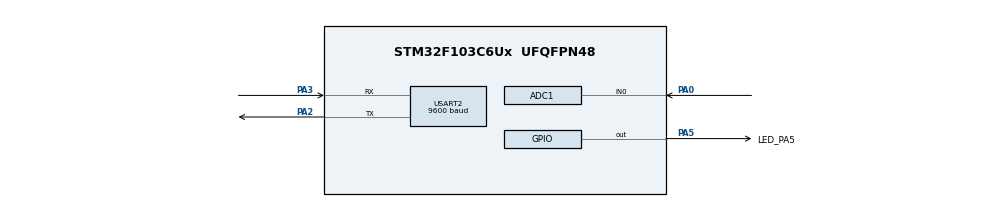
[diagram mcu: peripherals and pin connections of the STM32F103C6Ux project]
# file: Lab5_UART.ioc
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ADC1.Channel-0\#ChannelRegularConversion=ADC_CHANNEL_0
ADC1.ContinuousConvMode=ENABLE
ADC1.NbrOfConversionFlag=1
ADC1.Rank-0\#ChannelRegularConversion=1
ADC1.SamplingTime-0\#ChannelRegularConversion=ADC_SAMPLETIME_1CYCLE_5
ADC1.master=1
Mcu.Family=STM32F1
Mcu.Name=STM32F103C6Ux
Mcu.Package=UFQFPN48
NVIC.PriorityGroup=NVIC_PRIORITYGROUP_4
NVIC.TIM2_IRQn=true\:0\:0\:false\:false\:true\:true\:true\:true
NVIC.USART2_IRQn=true\:0\:0\:false\:false\:true\:true\:true\:true
PA0-WKUP.Signal=ADCx_IN0
PA2.Mode=Asynchronous
PA2.Signal=USART2_TX
PA3.Mode=Asynchronous
PA3.Signal=USART2_RX
PA5.GPIO_Label=LED_PA5
PA5.Signal=GPIO_Output
ProjectManager.HeapSize=0x200
ProjectManager.StackSize=0x400
ProjectManager.TargetToolchain=STM32CubeIDE
RCC.APB1Freq_Value=8000000
RCC.APB2Freq_Value=8000000
SH.ADCx_IN0.0=ADC1_IN0,IN0
TIM2.Period=9
TIM2.Prescaler=7999
USART2.BaudRate=9600
USART2.VirtualMode=VM_ASYNC
VP_SYS_VS_ND.Mode=No_Debug
VP_TIM2_VS_ClockSourceINT.Mode=Internal
board=custom

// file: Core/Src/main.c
/* USER CODE BEGIN Header */
/**
  ******************************************************************************
  * @file           : main.c
  * @brief          : Main program body
  ******************************************************************************
  * @attention
  *
  * Copyright (c) 2025 STMicroelectronics.
  * All rights reserved.
  *
  * This software is licensed under terms that can be found in the LICENSE file
  * in the root directory of this software component.
  * If no LICENSE file comes with this software, it is provided AS-IS.
  *
  ******************************************************************************
  */
/* USER CODE END Header */
#include "main.h"

/* USER CODE BEGIN Includes */
#include <stdio.h>
#include "software_timer.h"
#include "UART_FSM.h"
/* USER CODE END Includes */

ADC_HandleTypeDef hadc1;

TIM_HandleTypeDef htim2;

UART_HandleTypeDef huart2;

void SystemClock_Config(void);
static void MX_GPIO_Init(void);
static void MX_TIM2_Init(void);
static void MX_ADC1_Init(void);
static void MX_USART2_UART_Init(void);

/* USER CODE BEGIN 0 */
#define MAX_BUFFER_SIZE 30
uint32_t ADC_value = 0;
uint8_t temp = 0;
uint8_t buffer [MAX_BUFFER_SIZE];
uint8_t index_buffer = 0;
uint8_t parser_flag = 0;
uint8_t SendData = 0;
uint8_t Inst = 0;
char str[20];
int len = 0;
int tail = 0;
void command_parser_fsm(){
	 if(SendData == 3){
		 if(Inst == 2){
			 Inst = 0;
			 SendData = 0;
			 return;
		 }
		 if(Inst == 1){
			 Inst = 0;
			 SendData = 1;
		 }
		 else if(istimer_flag(1) == 1){
			 SendData = 2;
		 }
	 }
	 if(SendData == 0){
		 if(Inst != 1) return;
		 else{
			 Inst = 0;
			 SendData = 1;
		 }
	 }
	 if(SendData == 1){
		 ADC_value = HAL_ADC_GetValue(&hadc1);
		 len = sprintf(str, "!ADC=%lu#\r\n", ADC_value);
		 SendData = 2;
	 }
	 if(SendData == 2){
		 HAL_UART_Transmit(&huart2, (void*)str, len, 1000);
		 SendData = 3;
		 setTimer(1, 3000);
	 }
 return;
}

void uart_communiation_fsm(){
	if (index_buffer < 4) return;
	if (buffer[index_buffer - 1] == '#') {
		if (index_buffer >= 5 &&
			buffer[index_buffer - 5] == '!' &&
			buffer[index_buffer - 4] == 'R' &&
			buffer[index_buffer - 3] == 'S' &&
			buffer[index_buffer - 2] == 'T') {
			parser_flag = 1;
			Inst = 1;
			index_buffer = 0;
		}
	   else if (index_buffer >= 4 &&
				 buffer[index_buffer - 4] == '!' &&
				 buffer[index_buffer - 3] == 'O' &&
				 buffer[index_buffer - 2] == 'K') {
		    parser_flag = 1;
			Inst = 2;
			index_buffer = 0;
		}
	}
}

void HAL_UART_RxCpltCallback(UART_HandleTypeDef * huart){
	if( huart->Instance == USART2 ) {
//		HAL_UART_Transmit(&huart2, &temp, 1 , 50);
		buffer[index_buffer++] = temp ;
		if(index_buffer==30) index_buffer = 0;
//		buffer_flag = 1;
		HAL_UART_Receive_IT(&huart2, &temp, 1);
	}
}

/* USER CODE END 0 */

int main(void)
{

  /* MCU Configuration--------------------------------------------------------*/

  /* Reset of all peripherals, Initializes the Flash interface and the Systick. */
  HAL_Init();

  /* Configure the system clock */
  SystemClock_Config();

  /* Initialize all configured peripherals */
  MX_GPIO_Init();
  MX_TIM2_Init();
  MX_ADC1_Init();
  MX_USART2_UART_Init();
  HAL_ADC_Start(&hadc1);
  /* USER CODE BEGIN 2 */
  HAL_UART_Receive_IT(&huart2, &temp, 1) ;
  HAL_TIM_Base_Start_IT(&htim2);
  /* USER CODE END 2 */

  /* Infinite loop */
  /* USER CODE BEGIN WHILE */
setTimer(0, 70);

  while (1)
  {
    /* USER CODE END WHILE */
    /* USER CODE BEGIN 3 */
	  if(SendData == 3){
		  if(istimer_flag(0) == 1){
			  HAL_GPIO_TogglePin(LED_PA5_GPIO_Port, LED_PA5_Pin);
			  setTimer(0, 500);
		  }
	  }
//	  ADC_value = HAL_ADC_GetValue(&hadc1);
//	  HAL_Delay(500);
	  if(parser_flag == 1 || SendData == 3){
		  command_parser_fsm();
		  parser_flag = 0;
	  }
	  uart_communiation_fsm();
  }
  /* USER CODE END 3 */
}

void SystemClock_Config(void)
{
  RCC_OscInitTypeDef RCC_OscInitStruct = {0};
  RCC_ClkInitTypeDef RCC_ClkInitStruct = {0};
  RCC_PeriphCLKInitTypeDef PeriphClkInit = {0};

  /** Initializes the RCC Oscillators according to the specified parameters
  * in the RCC_OscInitTypeDef structure.
  */
  RCC_OscInitStruct.OscillatorType = RCC_OSCILLATORTYPE_HSI;
  RCC_OscInitStruct.HSIState = RCC_HSI_ON;
  RCC_OscInitStruct.HSICalibrationValue = RCC_HSICALIBRATION_DEFAULT;
  RCC_OscInitStruct.PLL.PLLState = RCC_PLL_NONE;
  if (HAL_RCC_OscConfig(&RCC_OscInitStruct) != HAL_OK)
  {
    Error_Handler();
  }

  /** Initializes the CPU, AHB and APB buses clocks
  */
  RCC_ClkInitStruct.ClockType = RCC_CLOCKTYPE_HCLK|RCC_CLOCKTYPE_SYSCLK
                              |RCC_CLOCKTYPE_PCLK1|RCC_CLOCKTYPE_PCLK2;
  RCC_ClkInitStruct.SYSCLKSource = RCC_SYSCLKSOURCE_HSI;
  RCC_ClkInitStruct.AHBCLKDivider = RCC_SYSCLK_DIV1;
  RCC_ClkInitStruct.APB1CLKDivider = RCC_HCLK_DIV1;
  RCC_ClkInitStruct.APB2CLKDivider = RCC_HCLK_DIV1;

  if (HAL_RCC_ClockConfig(&RCC_ClkInitStruct, FLASH_LATENCY_0) != HAL_OK)
  {
    Error_Handler();
  }
  PeriphClkInit.PeriphClockSelection = RCC_PERIPHCLK_ADC;
  PeriphClkInit.AdcClockSelection = RCC_ADCPCLK2_DIV2;
  if (HAL_RCCEx_PeriphCLKConfig(&PeriphClkInit) != HAL_OK)
  {
    Error_Handler();
  }
}

static void MX_ADC1_Init(void)
{

  ADC_ChannelConfTypeDef sConfig = {0};

  /** Common config
  */
  hadc1.Instance = ADC1;
  hadc1.Init.ScanConvMode = ADC_SCAN_DISABLE;
  hadc1.Init.ContinuousConvMode = ENABLE;
  hadc1.Init.DiscontinuousConvMode = DISABLE;
  hadc1.Init.ExternalTrigConv = ADC_SOFTWARE_START;
  hadc1.Init.DataAlign = ADC_DATAALIGN_RIGHT;
  hadc1.Init.NbrOfConversion = 1;
  if (HAL_ADC_Init(&hadc1) != HAL_OK)
  {
    Error_Handler();
  }

  /** Configure Regular Channel
  */
  sConfig.Channel = ADC_CHANNEL_0;
  sConfig.Rank = ADC_REGULAR_RANK_1;
  sConfig.SamplingTime = ADC_SAMPLETIME_1CYCLE_5;
  if (HAL_ADC_ConfigChannel(&hadc1, &sConfig) != HAL_OK)
  {
    Error_Handler();
  }

}

static void MX_TIM2_Init(void)
{

  TIM_ClockConfigTypeDef sClockSourceConfig = {0};
  TIM_MasterConfigTypeDef sMasterConfig = {0};

  htim2.Instance = TIM2;
  htim2.Init.Prescaler = 7999;
  htim2.Init.CounterMode = TIM_COUNTERMODE_UP;
  htim2.Init.Period = 9;
  htim2.Init.ClockDivision = TIM_CLOCKDIVISION_DIV1;
  htim2.Init.AutoReloadPreload = TIM_AUTORELOAD_PRELOAD_DISABLE;
  if (HAL_TIM_Base_Init(&htim2) != HAL_OK)
  {
    Error_Handler();
  }
  sClockSourceConfig.ClockSource = TIM_CLOCKSOURCE_INTERNAL;
  if (HAL_TIM_ConfigClockSource(&htim2, &sClockSourceConfig) != HAL_OK)
  {
    Error_Handler();
  }
  sMasterConfig.MasterOutputTrigger = TIM_TRGO_RESET;
  sMasterConfig.MasterSlaveMode = TIM_MASTERSLAVEMODE_DISABLE;
  if (HAL_TIMEx_MasterConfigSynchronization(&htim2, &sMasterConfig) != HAL_OK)
  {
    Error_Handler();
  }

}

static void MX_USART2_UART_Init(void)
{

  huart2.Instance = USART2;
  huart2.Init.BaudRate = 9600;
  huart2.Init.WordLength = UART_WORDLENGTH_8B;
  huart2.Init.StopBits = UART_STOPBITS_1;
  huart2.Init.Parity = UART_PARITY_NONE;
  huart2.Init.Mode = UART_MODE_TX_RX;
  huart2.Init.HwFlowCtl = UART_HWCONTROL_NONE;
  huart2.Init.OverSampling = UART_OVERSAMPLING_16;
  if (HAL_UART_Init(&huart2) != HAL_OK)
  {
    Error_Handler();
  }

}

static void MX_GPIO_Init(void)
{
  GPIO_InitTypeDef GPIO_InitStruct = {0};

  /* GPIO Ports Clock Enable */
  __HAL_RCC_GPIOA_CLK_ENABLE();

  /*Configure GPIO pin Output Level */
  HAL_GPIO_WritePin(LED_PA5_GPIO_Port, LED_PA5_Pin, GPIO_PIN_RESET);

  /*Configure GPIO pin : LED_PA5_Pin */
  GPIO_InitStruct.Pin = LED_PA5_Pin;
  GPIO_InitStruct.Mode = GPIO_MODE_OUTPUT_PP;
  GPIO_InitStruct.Pull = GPIO_NOPULL;
  GPIO_InitStruct.Speed = GPIO_SPEED_FREQ_LOW;
  HAL_GPIO_Init(LED_PA5_GPIO_Port, &GPIO_InitStruct);

}

void Error_Handler(void)
{
  __disable_irq();
  while (1)
  {
  }
}
